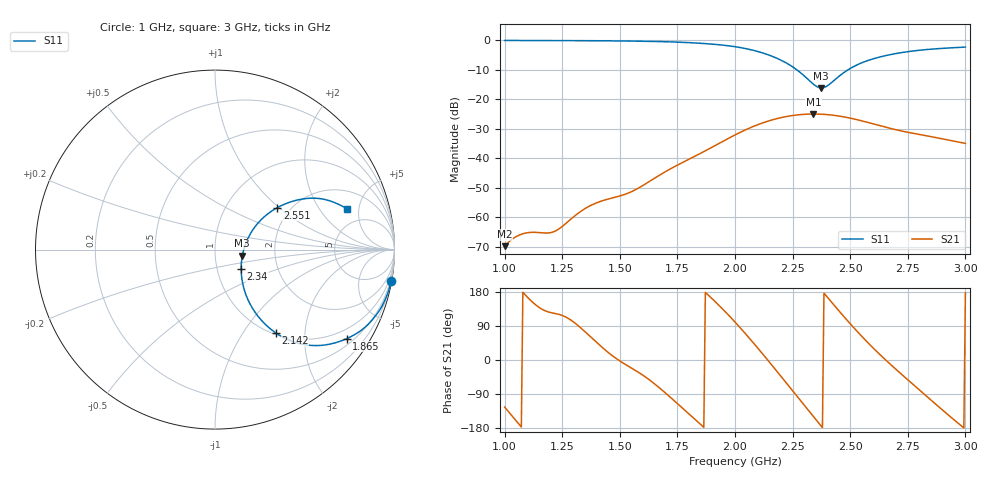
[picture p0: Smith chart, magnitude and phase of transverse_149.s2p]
! TOUCHSTONE file generated by CST MICROWAVE STUDIO
! Date and time: Tue Mar 11 13:57:11 2025
! Project name: transverse.cst
! Parameters = {Fracture=1; B=10; D=160; F=5; Feed=2.85625; L=100; M=20; R=0.384908; S=1; Theta=180; length=57.125; wave=114.25}
! Header version: 2024
! Port assignment regex: !\s*Touchstone port\s*([0-9]+)\s*=\s*(CST MWS port|CST DES external port|CST DES block port)\s*(.+)\s* \(\"(.*)\"\)(\s*mode\s*([0-9]+))?.*
! Touchstone port assignment:
! Touchstone port 1 = CST MWS port 1 ("")
! Touchstone port 2 = CST MWS port 2 ("")
# GHz S MA R 50
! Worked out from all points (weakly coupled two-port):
!   304 points, 1 GHz to 3 GHz, reference 50 ohm
!   highest |S21| = -24.99 dB at 2.34 GHz (marker M1); lowest = -69.8 dB at 1 GHz (marker M2)
!   lowest |S11| = -16.1 dB at 2.373 GHz (marker M3), VSWR 1.37, Z = 67.7 - j4.82 ohm
!   |S11| at or under -10 dB: 2.269 GHz to 2.49 GHz (221.4 MHz wide, 9.3 % of centre)
!   S12 and S22 are empty: the file has one direction only
!   S11 on the Smith chart (normalised r, x): 1 GHz: 0, -11; 1.865 GHz: 0.68, -3.13; 2.142 GHz: 1.03, -1.42; 2.34 GHz: 1.30, -0.29; 2.551 GHz: 1.72, +0.97; 3 GHz: 3.35, +3.73
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1  0.9979 -10.0  0.0003218 -124.1  0 0.0  0 0.0
1.0396  0.9972 -10.6  0.000442 -153.3  0 0.0  0 0.0
1.07921  0.9964 -11.1  0.0005226 178.7  0 0.0  0 0.0
1.19142  0.9947 -12.9  0.0005401 126.5  0 0.0  0 0.0
1.21782  0.9942 -13.3  0.0005756 122.9  0 0.0  0 0.0
1.33663  0.9897 -15.6  0.001302 81.4  0 0.0  0 0.0
1.40264  0.9867 -17.0  0.001773 44.6  0 0.0  0 0.0
1.54785  0.9747 -20.8  0.002674 -20.3  0 0.0  0 0.0
1.66667  0.9566 -24.7  0.005004 -70.7  0 0.0  0 0.0
1.86469  0.8859 -34.0  0.01295 -177.7  0 0.0  0 0.0
2.0033  0.7782 -43.4  0.02522 98.0  0 0.0  0 0.0
2.07591  0.684 -49.1  0.03415 47.9  0 0.0  0 0.0
2.14191  0.5738 -53.9  0.04247 -0.1  0 0.0  0 0.0
2.24752  0.3617 -57.2  0.05293 -79.4  0 0.0  0 0.0
2.33993  0.1814 -36.6  0.05632 -149.1  0 0.0  0 0.0
2.37294  0.156 -12.9  0.05595 -173.6  0 0.0  0 0.0
2.39934  0.168 7.3  0.05507 166.9  0 0.0  0 0.0
2.46535  0.2713 31.0  0.05096 119.6  0 0.0  0 0.0
2.55116  0.4184 34.0  0.04304 61.9  0 0.0  0 0.0
2.66997  0.5696 29.8  0.03241 -8.9  0 0.0  0 0.0
2.82178  0.6938 23.1  0.02443 -90.4  0 0.0  0 0.0
3  0.7697 17.2  0.01785 177.5  0 0.0  0 0.0
